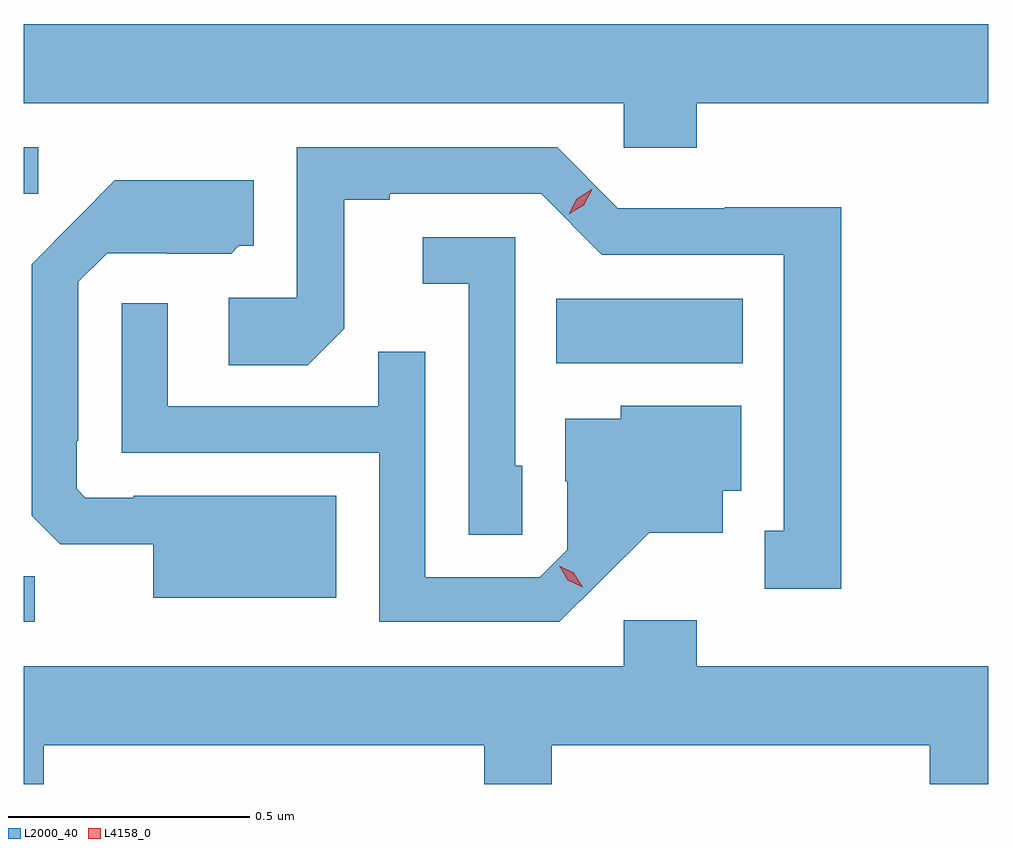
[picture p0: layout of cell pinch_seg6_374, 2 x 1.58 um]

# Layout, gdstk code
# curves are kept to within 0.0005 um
import gdstk
lib = gdstk.Library(unit=1e-6, precision=1e-09)
def R(c, l, rs):  # rectangles x0, y0, x1, y1
    for r in rs: c.add(gdstk.rectangle(r[:2], r[2:], *l))
def P(c, l, *ps):  # polygons
    for p in ps: c.add(gdstk.Polygon(p, *l))
L2000_40 = (2000, 40)
L4158_0 = (4158, 0)

pinch_seg6_374 = lib.new_cell('pinch_seg6_374')
R(pinch_seg6_374, L2000_40, [(635.32,938.268,635.343,938.363), (636.424,938.804,636.811,938.938), (635.32,939.156,635.35,939.252)])
P(pinch_seg6_374, L2000_40, [(636.716,939.344),(637.32,939.344),(637.32,939.508),(635.32,939.508),(635.32,939.344),(636.564,939.344),(636.564,939.251),(636.716,939.251)],
  [(637.015,939.128),(636.774,939.128),(636.774,939.126),(636.552,939.126),(636.426,939.252),(635.886,939.252),(635.886,938.94),(635.745,938.94),(635.745,938.8),(635.909,938.8),(635.985,938.876),(635.985,939.144),(636.079,939.144),(636.079,939.156),(636.393,939.156),(636.519,939.03),(636.896,939.03),(636.896,938.457),(636.857,938.457),(636.857,938.337),(637.015,938.337)],
  [(635.968,938.53),(635.548,938.53),(635.548,938.526),(635.448,938.526),(635.43,938.544),(635.43,938.644),(635.433,938.644),(635.433,938.973),(635.493,939.033),(635.616,939.033),(635.616,939.032),(635.75,939.032),(635.766,939.048),(635.797,939.048),(635.797,939.184),(635.509,939.184),(635.337,939.01),(635.337,938.488),(635.396,938.429),(635.588,938.429),(635.588,938.318),(635.968,938.318)],
  [(636.354,938.592),(636.339,938.592),(636.339,939.066),(636.147,939.066),(636.147,938.969),(636.243,938.969),(636.243,938.449),(636.354,938.449)],
  [(636.514,938.351),(636.617,938.453),(636.769,938.453),(636.769,938.54),(636.808,938.54),(636.808,938.716),(636.558,938.716),(636.558,938.689),(636.443,938.689),(636.443,938.56),(636.447,938.56),(636.447,938.418),(636.39,938.361),(636.153,938.361),(636.153,938.828),(636.055,938.828),(636.055,938.715),(635.619,938.715),(635.619,938.929),(635.523,938.929),(635.523,938.619),(636.057,938.619),(636.057,938.268),(636.43,938.268)],
  [(635.361,938.012),(636.275,938.012),(636.275,937.932),(636.415,937.932),(636.415,938.012),(637.199,938.012),(637.199,937.932),(637.32,937.932),(637.32,938.176),(636.716,938.176),(636.716,938.272),(636.564,938.272),(636.564,938.176),(635.32,938.176),(635.32,937.932),(635.361,937.932)])
P(pinch_seg6_374, L4158_0, [(636.45,939.113),(636.45,939.113),(636.467,939.146),(636.498,939.165),(636.499,939.165),(636.499,939.165),(636.481,939.132),(636.45,939.113)],
  [(636.479,938.34),(636.448,938.355),(636.43,938.385),(636.43,938.385),(636.43,938.385),(636.461,938.37),(636.479,938.34),(636.479,938.34)])

lib.write_gds('pinch_seg6_374.gds')
